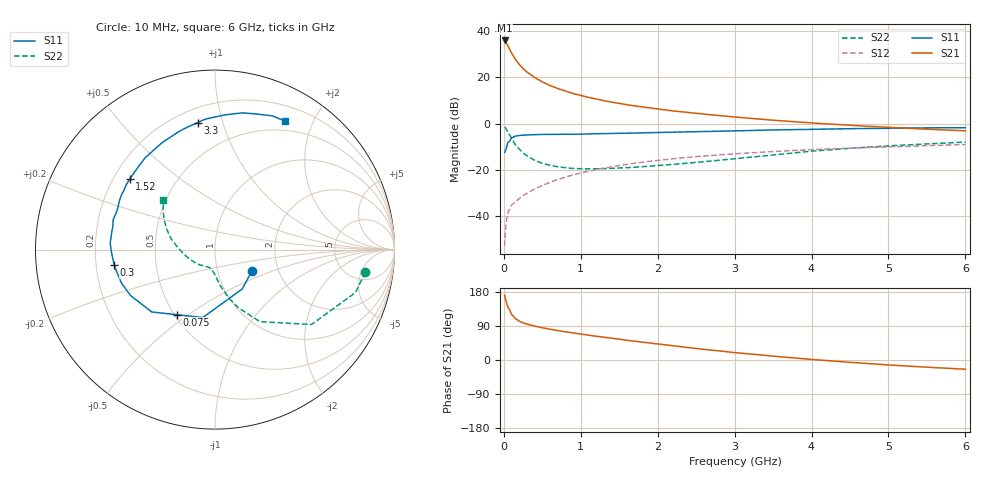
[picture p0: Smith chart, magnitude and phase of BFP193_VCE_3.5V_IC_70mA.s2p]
! Infineon Technologies  Discrete & RF Semiconductors
! BFP193
! VCE = 3.5 V,  IC =  70 mA
! Common Emitter S-Parameters:  Jan 2016
# GHz  S  MA  R  50
!  f  S11  S21  S12  S22
! GHz  MAG  ANG  MAG  ANG  MAG  ANG  MAG  ANG
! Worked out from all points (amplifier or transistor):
!   210 points, 10 MHz to 6 GHz, reference 50 ohm
!   highest |S21| = 36.1 dB at 10 MHz (marker M1)
!   |S21| within 3 dB of that: start of sweep to 63.03 MHz
!   unconditionally stable (mu >= 1): 415.9 MHz to 3.989 GHz
!   at 185 MHz: K = 0.78, MSG = 29.6 dB, |S12| = -32.9 dB
!   at 1.52 GHz: K = 1.08, MAG = 11.6 dB, |S12| = -18.1 dB
!   at 6 GHz: K = 0.95, MSG = 3.0 dB, |S12| = -9.1 dB
!   S11 on the Smith chart (normalised r, x): 10 MHz: 1.46, -0.37; 75 MHz: 0.52, -0.45; 300 MHz: 0.28, -0.07; 1.52 GHz: 0.27, +0.34; 3.3 GHz: 0.29, +0.83; 6 GHz: 0.38, +1.62
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0.01  0.2381 -30.5  63.54 170.8  0.0022 76.0  0.8468 -8.6
0.02  0.2667 -55.4  60.27 161.1  0.0049 74.7  0.8184 -17.0
0.05  0.3846 -100.2  49.49 140.4  0.0111 62.1  0.6808 -37.8
0.075  0.4194 -120.1  41.06 132.2  0.014 59.4  0.5684 -46.1
0.1  0.4948 -135.4  33.88 120.2  0.017 57.6  0.4733 -58.0
0.15  0.5351 -151.2  24.64 109.2  0.0203 56.6  0.3506 -68.0
0.2  0.5534 -160.2  19.21 102.5  0.0236 58.9  0.279 -74.3
0.24  0.5588 -165.5  16.3 99.0  0.0267 59.5  0.2394 -77.6
0.3  0.5684 -171.2  13.13 94.5  0.0309 62.4  0.201 -81.8
0.4  0.577 -178.6  9.988 89.4  0.0381 64.6  0.1601 -86.6
0.5  0.585 176.5  8.002 85.0  0.0454 65.5  0.1374 -90.8
0.6  0.5837 171.2  6.705 81.1  0.0539 66.3  0.1243 -94.4
0.8  0.5912 163.7  5.058 74.3  0.069 65.7  0.1105 -101.2
1.02  0.5908 155.9  3.988 67.9  0.0866 64.4  0.105 -107.6
1.3  0.6053 146.7  3.142 60.0  0.1086 61.7  0.1053 -116.1
1.52  0.6163 140.5  2.713 54.4  0.1249 59.1  0.1098 -122.8
2.02  0.6434 126.8  2.048 41.9  0.1607 52.7  0.1239 -139.6
3.1  0.7021 101.6  1.346 17.8  0.2271 38.3  0.1793 -173.8
3.3  0.7142 97.8  1.262 14.2  0.2376 35.8  0.1935 -179.1
4.1  0.7562 84.4  1.009 0.0  0.2774 26.0  0.2601 163.9
5.1  0.7946 71.3  0.815 -14.2  0.3177 14.7  0.3355 148.2
6  0.8156 61.4  0.699 -24.4  0.3516 5.0  0.3971 136.3
